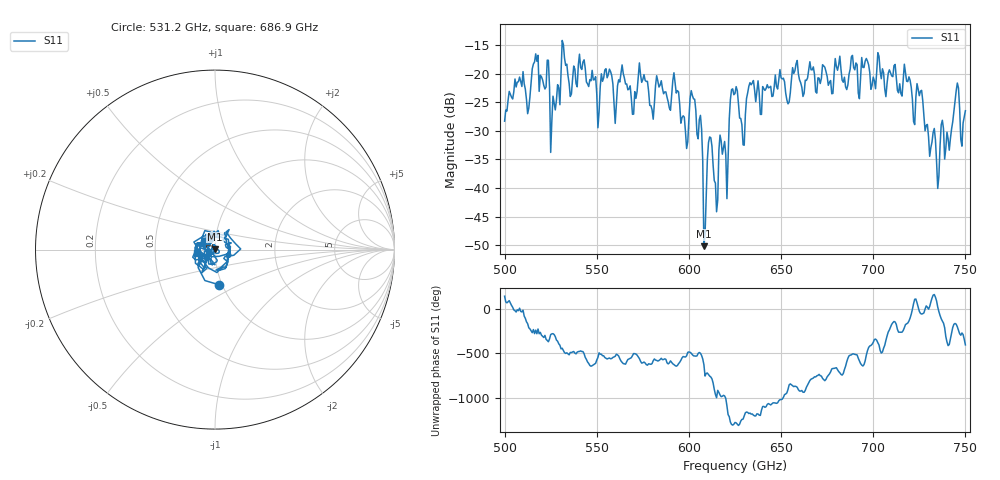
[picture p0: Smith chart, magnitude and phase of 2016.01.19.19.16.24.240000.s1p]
!Created with skrf (http://scikit-rf.org).
# GHz S RI R 50.0
!freq ReS11 ImS11
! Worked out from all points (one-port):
!   401 points, 500 GHz to 750 GHz, reference 50 ohm
!   lowest |S11| = -50.2 dB at 608.1 GHz (marker M1), VSWR 1.01, Z = 50 + j0.309 ohm
!   |S11| at or under -10 dB: start of sweep to end of sweep
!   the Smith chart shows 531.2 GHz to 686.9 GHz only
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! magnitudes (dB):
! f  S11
! 500 GHz  -28.3
! 506.9 GHz  -21.4
! 513.1 GHz  -26.0
! 516.9 GHz  -16.5
! 526.2 GHz  -23.9
! 531.2 GHz  -14.1
! 550.6 GHz  -29.4
! 562.5 GHz  -21.4
! 574.4 GHz  -21.5
! 580 GHz  -26.3
! 593.8 GHz  -22.9
! 598.8 GHz  -33.1
! 602.5 GHz  -24.4
! 606.2 GHz  -27.3
! 608.1 GHz  -50.2
! 611.2 GHz  -31.0
! 614.4 GHz  -39.1
! 617.5 GHz  -31.8
! 620 GHz  -34.2
! 625 GHz  -23.4
! 628.8 GHz  -28.9
! 633.8 GHz  -21.9
! 656.2 GHz  -18.9
! 687.5 GHz  -19.2
! 718.8 GHz  -21.3
! 735 GHz  -40.1
! 745 GHz  -23.0
! 750 GHz  -26.5
